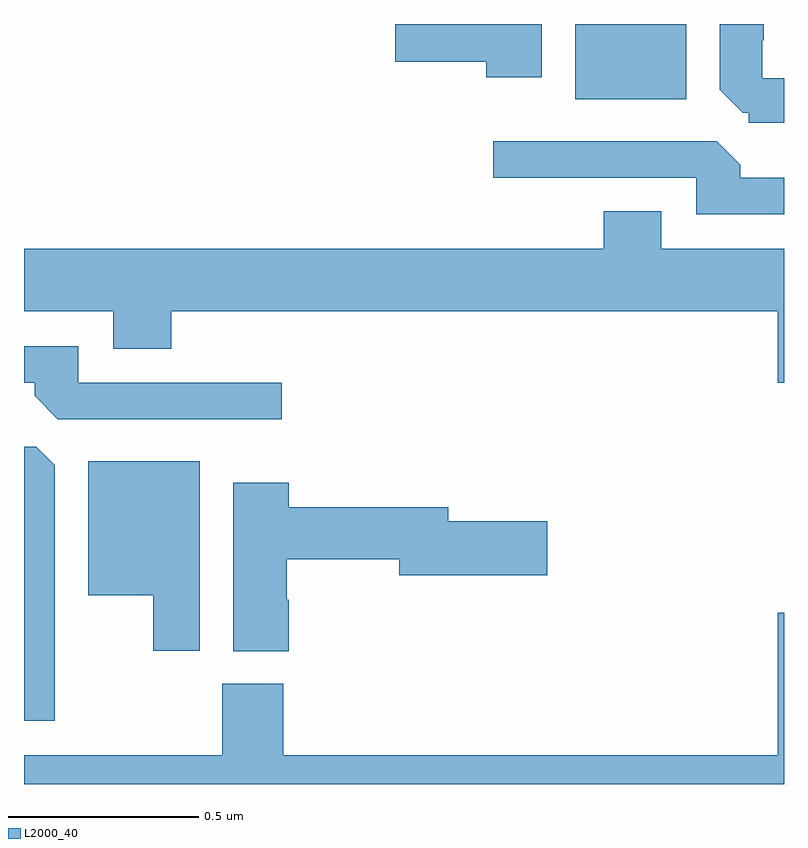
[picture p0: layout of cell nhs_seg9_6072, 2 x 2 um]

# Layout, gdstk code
import gdstk
lib = gdstk.Library(unit=1e-6, precision=1e-09)
def R(c, l, rs):  # rectangles x0, y0, x1, y1
    for r in rs: c.add(gdstk.rectangle(r[:2], r[2:], *l))
def P(c, l, *ps):  # polygons
    for p in ps: c.add(gdstk.Polygon(p, *l))
L2000_40 = (2000, 40)

nhs_seg9_6072 = lib.new_cell('nhs_seg9_6072')
R(nhs_seg9_6072, L2000_40, [(188.45,1206.302,188.743,1206.5)])
P(nhs_seg9_6072, L2000_40, [(188.362,1206.5),(187.977,1206.5),(187.977,1206.401),(188.216,1206.401),(188.216,1206.36),(188.362,1206.36)],
  [(189,1206.357),(188.943,1206.357),(188.943,1206.457),(188.947,1206.457),(188.947,1206.5),(188.831,1206.5),(188.831,1206.327),(188.891,1206.267),(188.907,1206.267),(188.907,1206.24),(189,1206.24)],
  [(189,1206.096),(188.885,1206.096),(188.885,1206.13),(188.823,1206.192),(188.235,1206.192),(188.235,1206.096),(188.769,1206.096),(188.769,1206),(189,1206)],
  [(189,1205.908),(188.677,1205.908),(188.677,1206.007),(188.525,1206.007),(188.525,1205.908),(187,1205.908),(187,1205.744),(187.235,1205.744),(187.235,1205.645),(187.388,1205.645),(187.388,1205.744),(188.984,1205.744),(188.984,1205.556),(189,1205.556)],
  [(187.678,1205.556),(187.143,1205.556),(187.143,1205.652),(187,1205.652),(187,1205.556),(187.028,1205.556),(187.028,1205.522),(187.089,1205.46),(187.678,1205.46)],
  [(187.081,1205.339),(187.032,1205.388),(187,1205.388),(187,1204.667),(187.081,1204.667)],
  [(187.462,1205.35),(187.169,1205.35),(187.169,1204.997),(187.34,1204.997),(187.34,1204.851),(187.462,1204.851)],
  [(187.697,1204.985),(187.692,1204.985),(187.692,1205.092),(187.988,1205.092),(187.988,1205.05),(188.377,1205.05),(188.377,1205.192),(188.116,1205.192),(188.116,1205.228),(187.697,1205.228),(187.697,1205.293),(187.55,1205.293),(187.55,1204.849),(187.697,1204.849)],
  [(189,1204.951),(188.984,1204.951),(188.984,1204.576),(187.682,1204.576),(187.682,1204.764),(187.522,1204.764),(187.522,1204.576),(187,1204.576),(187,1204.5),(189,1204.5)])

lib.write_gds('nhs_seg9_6072.gds')
